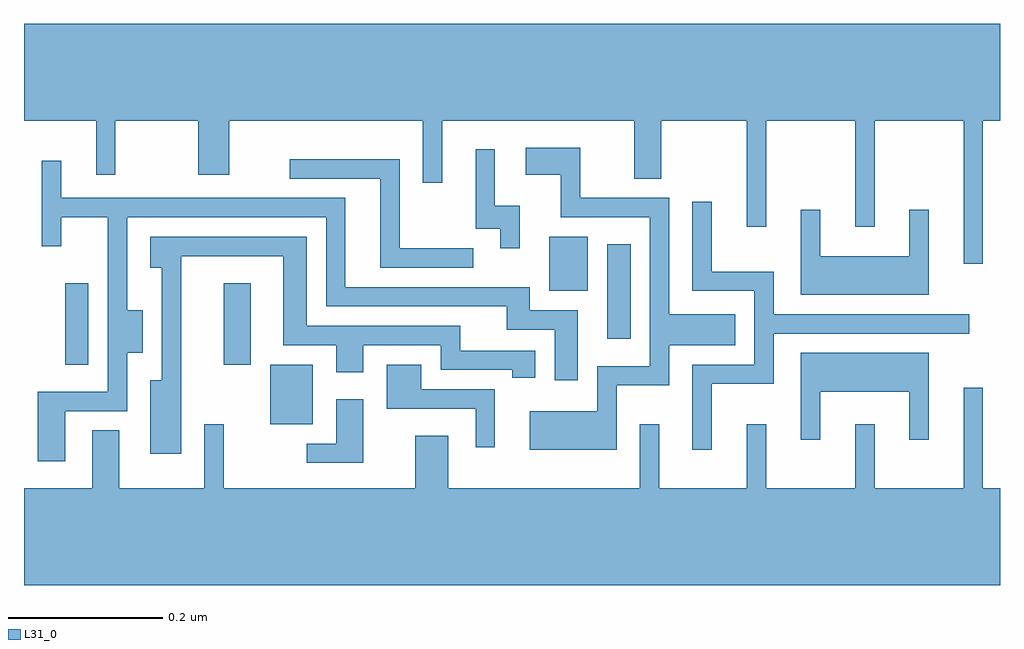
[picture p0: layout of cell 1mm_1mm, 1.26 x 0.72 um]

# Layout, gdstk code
import gdstk
lib = gdstk.Library(unit=1e-6, precision=1e-09)
def R(c, l, rs):  # rectangles x0, y0, x1, y1
    for r in rs: c.add(gdstk.rectangle(r[:2], r[2:], *l))
def P(c, l, *ps):  # polygons
    for p in ps: c.add(gdstk.Polygon(p, *l))
L31_0 = (31, 0)

c_1mm_1mm = lib.new_cell('1mm_1mm')
R(c_1mm_1mm, L31_0, [(-291.008,631.309,-290.953,631.386), (-291.273,631.386,-291.243,631.491), (-291.068,631.386,-291.033,631.491), (-290.573,631.419,-290.543,631.541), (-290.648,631.481,-290.598,631.551)])
P(c_1mm_1mm, L31_0, [(-290.673,631.276),(-290.673,631.326),(-290.586,631.326),(-290.586,631.384),(-290.518,631.384),(-290.518,631.576),(-290.633,631.576),(-290.633,631.631),(-290.678,631.631),(-290.678,631.666),(-290.608,631.666),(-290.608,631.601),(-290.493,631.601),(-290.493,631.451),(-290.408,631.451),(-290.408,631.411),(-290.493,631.411),(-290.493,631.359),(-290.561,631.359),(-290.561,631.276)],
  [(-290.113,631.516),(-290.113,631.701),(-290.228,631.701),(-290.228,631.564),(-290.253,631.564),(-290.253,631.701),(-290.368,631.701),(-290.368,631.564),(-290.393,631.564),(-290.393,631.701),(-290.503,631.701),(-290.503,631.626),(-290.538,631.626),(-290.538,631.701),(-290.786,631.701),(-290.786,631.621),(-290.811,631.621),(-290.811,631.701),(-291.061,631.701),(-291.061,631.631),(-291.101,631.631),(-291.101,631.701),(-291.208,631.701),(-291.208,631.631),(-291.233,631.631),(-291.233,631.701),(-291.326,631.701),(-291.326,631.826),(-290.066,631.826),(-290.066,631.701),(-290.088,631.701),(-290.088,631.516)],
  [(-291.163,631.271),(-291.163,631.366),(-291.148,631.366),(-291.148,631.511),(-291.163,631.511),(-291.163,631.551),(-290.961,631.551),(-290.961,631.436),(-290.763,631.436),(-290.763,631.404),(-290.666,631.404),(-290.666,631.369),(-290.696,631.369),(-290.696,631.379),(-290.788,631.379),(-290.788,631.411),(-290.888,631.411),(-290.888,631.376),(-290.923,631.376),(-290.923,631.411),(-290.991,631.411),(-290.991,631.526),(-291.123,631.526),(-291.123,631.271)],
  [(-290.323,631.476),(-290.323,631.586),(-290.298,631.586),(-290.298,631.526),(-290.183,631.526),(-290.183,631.586),(-290.158,631.586),(-290.158,631.476)],
  [(-290.463,631.276),(-290.463,631.386),(-290.383,631.386),(-290.383,631.481),(-290.463,631.481),(-290.463,631.596),(-290.438,631.596),(-290.438,631.506),(-290.358,631.506),(-290.358,631.451),(-290.106,631.451),(-290.106,631.426),(-290.358,631.426),(-290.358,631.361),(-290.438,631.361),(-290.438,631.276)],
  [(-290.961,631.259),(-290.961,631.284),(-290.923,631.284),(-290.923,631.341),(-290.888,631.341),(-290.888,631.259)],
  [(-290.866,631.511),(-290.866,631.626),(-290.983,631.626),(-290.983,631.651),(-290.841,631.651),(-290.841,631.536),(-290.746,631.536),(-290.746,631.511)],
  [(-290.743,631.279),(-290.743,631.329),(-290.858,631.329),(-290.858,631.386),(-290.813,631.386),(-290.813,631.354),(-290.718,631.354),(-290.718,631.279)],
  [(-290.711,631.536),(-290.711,631.561),(-290.743,631.561),(-290.743,631.664),(-290.718,631.664),(-290.718,631.591),(-290.686,631.591),(-290.686,631.536)],
  [(-291.326,631.101),(-291.326,631.226),(-291.238,631.226),(-291.238,631.301),(-291.203,631.301),(-291.203,631.226),(-291.093,631.226),(-291.093,631.309),(-291.068,631.309),(-291.068,631.226),(-290.821,631.226),(-290.821,631.294),(-290.778,631.294),(-290.778,631.226),(-290.531,631.226),(-290.531,631.309),(-290.506,631.309),(-290.506,631.226),(-290.393,631.226),(-290.393,631.309),(-290.368,631.309),(-290.368,631.226),(-290.253,631.226),(-290.253,631.309),(-290.228,631.309),(-290.228,631.226),(-290.113,631.226),(-290.113,631.356),(-290.088,631.356),(-290.088,631.226),(-290.066,631.226),(-290.066,631.101)],
  [(-290.323,631.289),(-290.323,631.401),(-290.158,631.401),(-290.158,631.289),(-290.183,631.289),(-290.183,631.351),(-290.298,631.351),(-290.298,631.289)],
  [(-291.308,631.261),(-291.308,631.351),(-291.218,631.351),(-291.218,631.576),(-291.278,631.576),(-291.278,631.539),(-291.303,631.539),(-291.303,631.649),(-291.278,631.649),(-291.278,631.601),(-290.911,631.601),(-290.911,631.486),(-290.673,631.486),(-290.673,631.456),(-290.611,631.456),(-290.611,631.366),(-290.641,631.366),(-290.641,631.431),(-290.703,631.431),(-290.703,631.461),(-290.936,631.461),(-290.936,631.576),(-291.193,631.576),(-291.193,631.456),(-291.173,631.456),(-291.173,631.401),(-291.193,631.401),(-291.193,631.326),(-291.273,631.326),(-291.273,631.261)])

lib.write_gds('1mm_1mm.gds')
